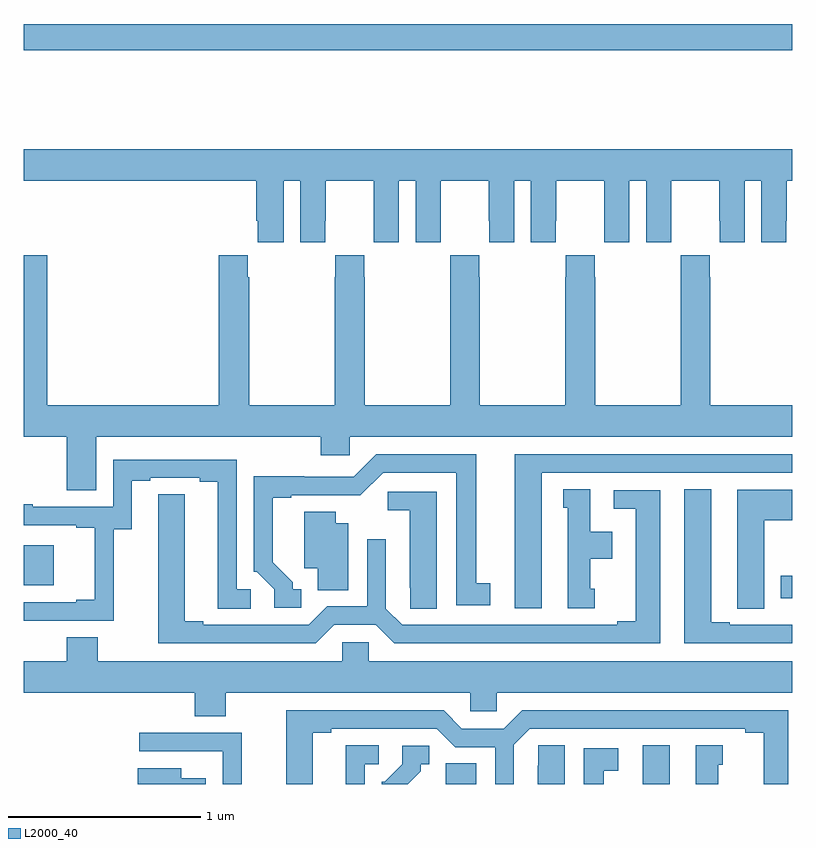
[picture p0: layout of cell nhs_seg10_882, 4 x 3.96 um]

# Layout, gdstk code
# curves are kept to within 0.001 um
import gdstk
lib = gdstk.Library(unit=1e-6, precision=1e-09)
def R(c, l, rs):  # rectangles x0, y0, x1, y1
    for r in rs: c.add(gdstk.rectangle(r[:2], r[2:], *l))
def P(c, l, *ps):  # polygons
    for p in ps: c.add(gdstk.Polygon(p, *l))
L2000_40 = (2000, 40)

nhs_seg10_882 = lib.new_cell('nhs_seg10_882')
R(nhs_seg10_882, L2000_40, [(157.196,1306.5,157.354,1306.607), (158.222,1306.5,158.362,1306.702), (158.939,1307.466,159,1307.583), (155,1307.534,155.155,1307.743), (155,1310.32,159,1310.456)])
P(nhs_seg10_882, L2000_40, [(155,1309.64),(156.209,1309.64),(156.209,1309.432),(156.218,1309.432),(156.218,1309.32),(156.352,1309.32),(156.352,1309.64),(156.44,1309.64),(156.44,1309.32),(156.57,1309.32),(156.57,1309.432),(156.571,1309.432),(156.571,1309.64),(156.821,1309.64),(156.821,1309.432),(156.822,1309.432),(156.822,1309.32),(156.952,1309.32),(156.952,1309.64),(157.04,1309.64),(157.04,1309.32),(157.17,1309.32),(157.17,1309.432),(157.171,1309.432),(157.171,1309.64),(157.421,1309.64),(157.421,1309.432),(157.422,1309.432),(157.422,1309.32),(157.552,1309.32),(157.552,1309.64),(157.64,1309.64),(157.64,1309.32),(157.77,1309.32),(157.77,1309.432),(157.771,1309.432),(157.771,1309.64),(158.021,1309.64),(158.021,1309.432),(158.022,1309.432),(158.022,1309.32),(158.152,1309.32),(158.152,1309.64),(158.24,1309.64),(158.24,1309.32),(158.37,1309.32),(158.37,1309.432),(158.371,1309.432),(158.371,1309.64),(158.621,1309.64),(158.621,1309.432),(158.622,1309.432),(158.622,1309.32),(158.752,1309.32),(158.752,1309.64),(158.84,1309.64),(158.84,1309.32),(158.97,1309.32),(158.97,1309.432),(158.971,1309.432),(158.971,1309.64),(159,1309.64),(159,1309.804),(155,1309.804)],
  [(155.377,1308.308),(156.545,1308.308),(156.545,1308.21),(156.696,1308.21),(156.696,1308.308),(159,1308.308),(159,1308.472),(158.574,1308.472),(158.574,1309.139),(158.571,1309.139),(158.571,1309.252),(158.421,1309.252),(158.421,1309.139),(158.419,1309.139),(158.419,1308.472),(157.974,1308.472),(157.974,1309.139),(157.971,1309.139),(157.971,1309.252),(157.821,1309.252),(157.821,1309.139),(157.819,1309.139),(157.819,1308.472),(157.374,1308.472),(157.374,1309.139),(157.371,1309.139),(157.371,1309.252),(157.221,1309.252),(157.221,1309.139),(157.219,1309.139),(157.219,1308.472),(156.774,1308.472),(156.774,1309.139),(156.771,1309.139),(156.771,1309.252),(156.621,1309.252),(156.621,1309.139),(156.619,1309.139),(156.619,1308.472),(156.174,1308.472),(156.174,1309.139),(156.167,1309.139),(156.167,1309.252),(156.014,1309.252),(156.014,1308.472),(155.123,1308.472),(155.123,1309.252),(155,1309.252),(155,1308.308),(155.225,1308.308),(155.225,1308.028),(155.377,1308.028)],
  [(157.696,1308.12),(159,1308.12),(159,1308.216),(157.556,1308.216),(157.556,1307.415),(157.696,1307.415)],
  [(156.445,1307.514),(156.4,1307.514),(156.4,1307.549),(156.295,1307.654),(156.295,1307.991),(156.391,1307.991),(156.391,1308.003),(156.752,1308.002),(156.87,1308.12),(157.25,1308.12),(157.25,1307.43),(157.429,1307.43),(157.429,1307.546),(157.354,1307.546),(157.354,1308.216),(156.834,1308.216),(156.717,1308.099),(156.461,1308.099),(156.461,1308.101),(156.198,1308.101),(156.198,1307.604),(156.213,1307.604),(156.303,1307.514),(156.303,1307.418),(156.445,1307.418)],
  [(155.469,1307.827),(155.563,1307.827),(155.563,1308.078),(155.659,1308.078),(155.659,1308.093),(155.915,1308.093),(155.915,1308.073),(156.011,1308.073),(156.011,1307.413),(156.181,1307.413),(156.181,1307.514),(156.108,1307.514),(156.108,1308.189),(155.466,1308.189),(155.466,1307.943),(155.047,1307.943),(155.047,1307.956),(155,1307.956),(155,1307.847),(155.273,1307.847),(155.273,1307.835),(155.369,1307.835),(155.369,1307.458),(155.273,1307.458),(155.273,1307.445),(155,1307.445),(155,1307.349),(155.469,1307.349)],
  [(159,1307.329),(158.95,1307.329),(158.95,1307.328),(158.674,1307.328),(158.674,1307.343),(158.578,1307.343),(158.578,1308.035),(158.438,1308.035),(158.438,1307.232),(159,1307.232)],
  [(157.972,1307.517),(157.948,1307.517),(157.948,1307.672),(158.062,1307.672),(158.062,1307.812),(157.948,1307.812),(157.948,1308.035),(157.808,1308.035),(157.808,1307.937),(157.832,1307.937),(157.832,1307.415),(157.972,1307.415)],
  [(158.854,1307.872),(159,1307.872),(159,1308.031),(158.714,1308.031),(158.714,1307.521),(158.715,1307.521),(158.715,1307.413),(158.854,1307.413)],
  [(156.615,1307.328),(156.833,1307.328),(156.929,1307.232),(158.314,1307.232),(158.314,1308.03),(158.07,1308.03),(158.07,1307.934),(158.186,1307.934),(158.186,1307.348),(158.09,1307.348),(158.09,1307.328),(156.969,1307.328),(156.885,1307.412),(156.885,1307.773),(156.789,1307.773),(156.789,1307.424),(156.579,1307.424),(156.483,1307.328),(155.935,1307.328),(155.935,1307.348),(155.839,1307.348),(155.839,1308.008),(155.7,1308.008),(155.699,1307.232),(156.519,1307.232)],
  [(157.15,1308.021),(156.894,1308.021),(156.894,1307.924),(157.01,1307.924),(157.01,1307.521),(157.011,1307.521),(157.011,1307.413),(157.15,1307.413)],
  [(156.688,1307.857),(156.625,1307.857),(156.625,1307.918),(156.461,1307.918),(156.461,1307.624),(156.53,1307.624),(156.53,1307.509),(156.688,1307.509)],
  [(156.051,1306.976),(157.323,1306.976),(157.323,1306.878),(157.461,1306.878),(157.461,1306.976),(159,1306.976),(159,1307.14),(156.795,1307.14),(156.795,1307.238),(156.657,1307.238),(156.657,1307.14),(155.385,1307.14),(155.385,1307.264),(155.225,1307.264),(155.225,1307.14),(155,1307.14),(155,1306.976),(155.891,1306.976),(155.891,1306.852),(156.051,1306.852)],
  [(156.505,1306.768),(156.601,1306.768),(156.601,1306.788),(157.149,1306.788),(157.245,1306.692),(157.455,1306.692),(157.455,1306.5),(157.551,1306.5),(157.551,1306.704),(157.635,1306.788),(158.756,1306.788),(158.756,1306.768),(158.852,1306.768),(158.852,1306.5),(158.98,1306.5),(158.98,1306.884),(157.595,1306.884),(157.499,1306.788),(157.281,1306.788),(157.185,1306.884),(156.365,1306.884),(156.365,1306.5),(156.505,1306.5)],
  [(156.135,1306.767),(155.601,1306.767),(155.601,1306.671),(156.035,1306.671),(156.035,1306.67),(156.036,1306.67),(156.036,1306.5),(156.135,1306.5)],
  [(157.816,1306.703),(157.677,1306.703),(157.677,1306.595),(157.676,1306.595),(157.676,1306.5),(157.816,1306.5)],
  [(156.774,1306.602),(156.847,1306.602),(156.847,1306.703),(156.677,1306.703),(156.677,1306.5),(156.774,1306.5)],
  [(158.614,1306.599),(158.638,1306.599),(158.638,1306.702),(158.498,1306.702),(158.498,1306.5),(158.614,1306.5)],
  [(157.066,1306.567),(157.066,1306.602),(157.111,1306.602),(157.111,1306.698),(156.969,1306.698),(156.969,1306.602),(156.879,1306.512),(156.864,1306.512),(156.864,1306.5),(156.999,1306.5)],
  [(158.02,1306.57),(158.095,1306.57),(158.095,1306.686),(157.916,1306.686),(157.916,1306.5),(158.02,1306.5)],
  [(155.947,1306.531),(155.821,1306.531),(155.821,1306.582),(155.594,1306.582),(155.594,1306.5),(155.947,1306.5)])

lib.write_gds('nhs_seg10_882.gds')
